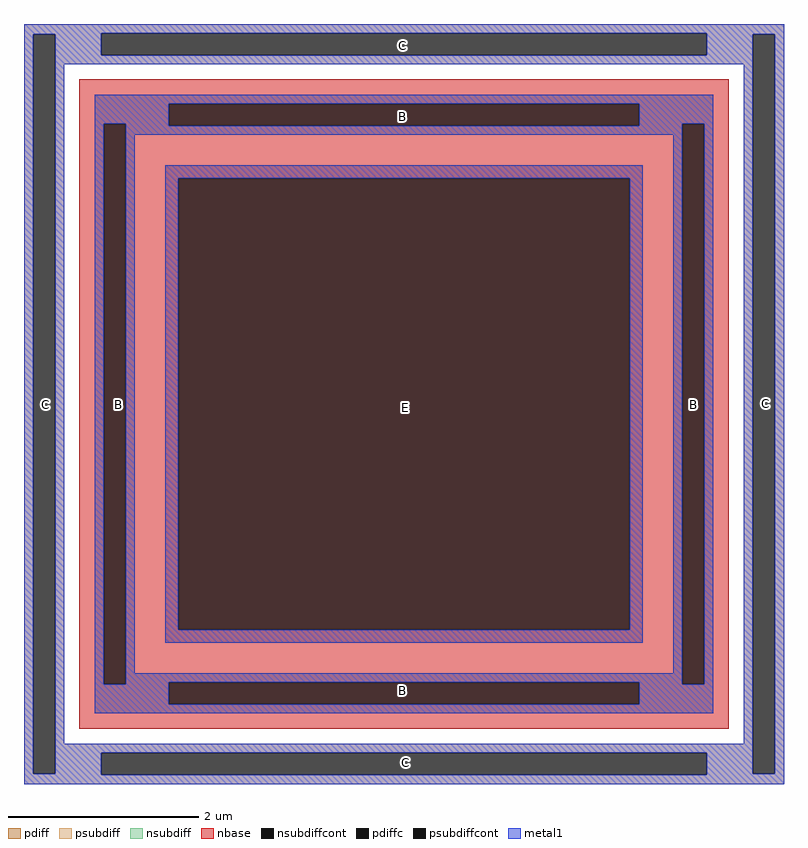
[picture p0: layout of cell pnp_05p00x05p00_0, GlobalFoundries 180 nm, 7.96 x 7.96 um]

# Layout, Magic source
magic
tech gf180mcuD
magscale 1 10
<< nbase >>
rect -680 -680 680 680
<< pdiff >>
rect -500 473 500 500
rect -500 -473 -473 473
rect 473 -473 500 473
rect -500 -500 500 -473
<< pdiffc >>
rect -473 -473 473 473
<< psubdiff >>
rect -796 777 796 796
rect -796 775 -634 777
rect -796 -775 -777 775
rect -731 731 -634 775
rect 634 775 796 777
rect 634 731 731 775
rect -731 712 731 731
rect -731 -712 -712 712
rect 712 -712 731 712
rect -731 -731 731 -712
rect -731 -775 -634 -731
rect -796 -777 -634 -775
rect 634 -775 731 -731
rect 777 -775 796 775
rect 634 -777 796 -775
rect -796 -796 796 -777
<< nsubdiff >>
rect -648 629 648 648
rect -648 587 -493 629
rect -648 -587 -629 587
rect -583 583 -493 587
rect 493 587 648 629
rect 493 583 583 587
rect -583 564 583 583
rect -583 -564 -564 564
rect 564 -564 583 564
rect -583 -583 583 -564
rect -583 -587 -493 -583
rect -648 -629 -493 -587
rect 493 -587 583 -583
rect 629 -587 648 587
rect 493 -629 648 -587
rect -648 -648 648 -629
<< psubdiffcont >>
rect -777 -775 -731 775
rect -634 731 634 777
rect -634 -777 634 -731
rect 731 -775 777 775
<< nsubdiffcont >>
rect -629 -587 -583 587
rect -493 583 493 629
rect -493 -629 493 -583
rect 583 -587 629 587
<< metal1 >>
rect -796 777 796 796
rect -796 775 -634 777
rect -796 -775 -777 775
rect -731 731 -634 775
rect 634 775 796 777
rect 634 731 731 775
rect -731 712 731 731
rect -731 -712 -712 712
rect -648 629 648 648
rect -648 587 -493 629
rect -648 -587 -629 587
rect -583 583 -493 587
rect 493 587 648 629
rect 493 583 583 587
rect -583 564 583 583
rect -583 -564 -564 564
rect -500 473 500 500
rect -500 -473 -473 473
rect 473 -473 500 473
rect -500 -500 500 -473
rect 564 -564 583 564
rect -583 -583 583 -564
rect -583 -587 -493 -583
rect -648 -629 -493 -587
rect 493 -587 583 -583
rect 629 -587 648 587
rect 493 -629 648 -587
rect -648 -648 648 -629
rect 712 -712 731 712
rect -731 -731 731 -712
rect -731 -775 -634 -731
rect -796 -777 -634 -775
rect 634 -775 731 -731
rect 777 -775 796 775
rect 634 -777 796 -775
rect -796 -796 796 -777
<< labels >>
flabel pdiffc 3 -8 3 -8 0 FreeSans 400 0 0 0 E
flabel nsubdiffcont -3 603 -3 603 0 FreeSans 400 0 0 0 B
flabel nsubdiffcont 607 -2 607 -2 0 FreeSans 400 0 0 0 B
flabel nsubdiffcont -3 -600 -3 -600 0 FreeSans 400 0 0 0 B
flabel nsubdiffcont -598 -2 -598 -2 0 FreeSans 400 0 0 0 B
flabel psubdiffcont 3 -752 3 -752 0 FreeSans 400 0 0 0 C
flabel psubdiffcont 757 2 757 2 0 FreeSans 400 0 0 0 C
flabel psubdiffcont -3 752 -3 752 0 FreeSans 400 0 0 0 C
flabel psubdiffcont -751 -2 -751 -2 0 FreeSans 400 0 0 0 C
<< properties >>
string GDS_END 15746
string GDS_FILE $PDKPATH/libs.ref/gf180mcu_fd_pr/gds/pnp_05p00x05p00.gds
string GDS_START 112
string gencell pnp_05p00x05p00
string library gf180mcu
string parameter m=1
<< end >>
